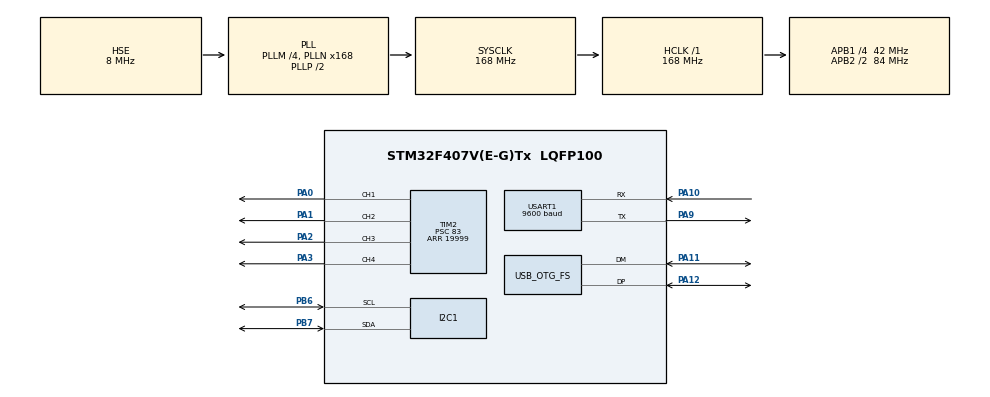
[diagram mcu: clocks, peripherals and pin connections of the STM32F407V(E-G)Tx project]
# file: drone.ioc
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I2C1.I2C_Mode=I2C_Fast
Mcu.Family=STM32F4
Mcu.Name=STM32F407V(E-G)Tx
Mcu.Package=LQFP100
NVIC.PriorityGroup=NVIC_PRIORITYGROUP_4
NVIC.TIM1_UP_TIM10_IRQn=true\:0\:0\:false\:false\:true\:true\:true\:true
NVIC.USART1_IRQn=true\:0\:0\:false\:false\:true\:true\:true\:true
PA0-WKUP.Signal=S_TIM2_CH1_ETR
PA1.Signal=S_TIM2_CH2
PA10.Mode=Asynchronous
PA10.Signal=USART1_RX
PA11.Mode=Device_Only
PA11.Signal=USB_OTG_FS_DM
PA12.Mode=Device_Only
PA12.Signal=USB_OTG_FS_DP
PA13.Mode=Trace_Asynchronous_SW
PA13.Signal=SYS_JTMS-SWDIO
PA14.Mode=Trace_Asynchronous_SW
PA14.Signal=SYS_JTCK-SWCLK
PA2.Signal=S_TIM2_CH3
PA3.Signal=S_TIM2_CH4
PA9.Mode=Asynchronous
PA9.Signal=USART1_TX
PB3.Mode=Trace_Asynchronous_SW
PB3.Signal=SYS_JTDO-SWO
PB6.Mode=I2C
PB6.Signal=I2C1_SCL
PB7.Mode=I2C
PB7.Signal=I2C1_SDA
PH0-OSC_IN.Mode=HSE-External-Oscillator
PH0-OSC_IN.Signal=RCC_OSC_IN
PH1-OSC_OUT.Mode=HSE-External-Oscillator
PH1-OSC_OUT.Signal=RCC_OSC_OUT
ProjectManager.HeapSize=0x200
ProjectManager.StackSize=0x400
ProjectManager.TargetToolchain=STM32CubeIDE
RCC.48MHZClocksFreq_Value=48000000
RCC.AHBFreq_Value=168000000
RCC.APB1CLKDivider=RCC_HCLK_DIV4
RCC.APB1Freq_Value=42000000
RCC.APB1TimFreq_Value=84000000
RCC.APB2CLKDivider=RCC_HCLK_DIV2
RCC.APB2Freq_Value=84000000
RCC.APB2TimFreq_Value=168000000
RCC.CortexFreq_Value=168000000
RCC.HCLKFreq_Value=168000000
RCC.HSE_VALUE=8000000
RCC.HSI_VALUE=16000000
RCC.LSE_VALUE=32768
RCC.PLLM=4
RCC.PLLN=168
RCC.PLLQ=7
RCC.SYSCLKFreq_VALUE=168000000
RCC.SYSCLKSource=RCC_SYSCLKSOURCE_PLLCLK
RCC.VCOOutputFreq_Value=336000000
SH.S_TIM2_CH1_ETR.0=TIM2_CH1,PWM Generation1 CH1
SH.S_TIM2_CH2.0=TIM2_CH2,PWM Generation2 CH2
SH.S_TIM2_CH3.0=TIM2_CH3,PWM Generation3 CH3
SH.S_TIM2_CH4.0=TIM2_CH4,PWM Generation4 CH4
<<<<<<< HEAD
TIM1.Period=4999
=======
TIM1.Period=1999
>>>>>>> 1afa4d579ae4796debe49eb915d73c25e3f8f8c3
TIM1.Prescaler=167
TIM2.Channel-PWM\ Generation1\ CH1=TIM_CHANNEL_1
TIM2.Channel-PWM\ Generation2\ CH2=TIM_CHANNEL_2
TIM2.Channel-PWM\ Generation3\ CH3=TIM_CHANNEL_3
TIM2.Channel-PWM\ Generation4\ CH4=TIM_CHANNEL_4
TIM2.Period=19999
TIM2.Prescaler=83
USART1.BaudRate=9600
USART1.VirtualMode=VM_ASYNC
USB_OTG_FS.VirtualMode=Device_Only
VP_TIM1_VS_ClockSourceINT.Mode=Internal
board=custom

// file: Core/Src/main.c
/* USER CODE BEGIN Header */
/**
  ******************************************************************************
  * @file           : main.c
  * @brief          : Main program body
  ******************************************************************************
  * @attention
  *
  * Copyright (c) 2026 STMicroelectronics.
  * All rights reserved.
  *
  * This software is licensed under terms that can be found in the LICENSE file
  * in the root directory of this software component.
  * If no LICENSE file comes with this software, it is provided AS-IS.
  *
  ******************************************************************************
  */
/* USER CODE END Header */
#include "main.h"

/* USER CODE BEGIN Includes */
#include "MPU.h"
#include <stdio.h>
#include "PID.h"
#include "remote_input.h"
#include <string.h>
#include <stdlib.h>
/* USER CODE END Includes */

I2C_HandleTypeDef hi2c1;

TIM_HandleTypeDef htim1;
TIM_HandleTypeDef htim2;

UART_HandleTypeDef huart1;

PCD_HandleTypeDef hpcd_USB_OTG_FS;

/* USER CODE BEGIN PV */
uint8_t rx_data;           // Biến chứa 1 ký tự nhận được từ Bluetooth
uint32_t last_bt_time = 0;
//Biến xử lý chuỗi từ web
char rx_buffer[20];
uint8_t rx_index = 0;
//Biến PID cho trục Roll
PID_Param_t PID_Roll;
PID_Param_t PID_Pitch;
PID_Param_t PID_Yaw;
// Thêm biến này để chứa dữ liệu MPU6050
MPU6050_Raw mpu_data;
extern float angle_pitch;
extern float angle_roll;
RemoteCommand_t remote_cmd;
/* USER CODE END PV */

void SystemClock_Config(void);
static void MX_GPIO_Init(void);
static void MX_I2C1_Init(void);
static void MX_TIM1_Init(void);
static void MX_TIM2_Init(void);
static void MX_USART1_UART_Init(void);
static void MX_USB_OTG_FS_PCD_Init(void);

int main(void)
{

  /* MCU Configuration--------------------------------------------------------*/

  /* Reset of all peripherals, Initializes the Flash interface and the Systick. */
  HAL_Init();

  /* Configure the system clock */
  SystemClock_Config();

  /* Initialize all configured peripherals */
  MX_GPIO_Init();
  MX_I2C1_Init();
  MX_TIM1_Init();
  MX_TIM2_Init();
  MX_USART1_UART_Init();
  MX_USB_OTG_FS_PCD_Init();
  /* USER CODE BEGIN 2 */
  // 1. Kích hoạt bộ phát PWM trên cả 4 kênh của TIM2
    HAL_TIM_PWM_Start(&htim2, TIM_CHANNEL_1);
    HAL_TIM_PWM_Start(&htim2, TIM_CHANNEL_2);
    HAL_TIM_PWM_Start(&htim2, TIM_CHANNEL_3);
    HAL_TIM_PWM_Start(&htim2, TIM_CHANNEL_4);

    RemoteInput_Init();
    HAL_UART_Receive_IT(&huart1, &rx_data, 1);
    MPU6050_Init();
    PID_Init(&PID_Roll, 0.0, 0.0, 0.0, 0.02, 0.0, -100.0, 100.0, 1);
    PID_Init(&PID_Pitch, 0.0, 0.0, 0.0, 0.02, 0.0, -100.0, 100.0, 1);
    PID_Init(&PID_Yaw, 0.0, 0.0, 0.0, 0.02, 0.0, -100.0, 100.0, 1);
    HAL_TIM_Base_Start_IT(&htim1);
    // 2. Kích hoạt cảm biến MPU6050 (SAFE FROM CUBEMX HERE!)
  /* USER CODE END 2 */

  /* Infinite loop */
  /* USER CODE BEGIN WHILE */
  while (1)
  {
	//In dữ liệu ra màn hình
	HAL_Delay(10);
    /* USER CODE END WHILE */

  }
}

void SystemClock_Config(void)
{
  RCC_OscInitTypeDef RCC_OscInitStruct = {0};
  RCC_ClkInitTypeDef RCC_ClkInitStruct = {0};

  /** Configure the main internal regulator output voltage
  */
  __HAL_RCC_PWR_CLK_ENABLE();
  __HAL_PWR_VOLTAGESCALING_CONFIG(PWR_REGULATOR_VOLTAGE_SCALE1);

  /** Initializes the RCC Oscillators according to the specified parameters
  * in the RCC_OscInitTypeDef structure.
  */
  RCC_OscInitStruct.OscillatorType = RCC_OSCILLATORTYPE_HSE;
  RCC_OscInitStruct.HSEState = RCC_HSE_ON;
  RCC_OscInitStruct.PLL.PLLState = RCC_PLL_ON;
  RCC_OscInitStruct.PLL.PLLSource = RCC_PLLSOURCE_HSE;
  RCC_OscInitStruct.PLL.PLLM = 4;
  RCC_OscInitStruct.PLL.PLLN = 168;
  RCC_OscInitStruct.PLL.PLLP = RCC_PLLP_DIV2;
  RCC_OscInitStruct.PLL.PLLQ = 7;
  if (HAL_RCC_OscConfig(&RCC_OscInitStruct) != HAL_OK)
  {
    Error_Handler();
  }

  /** Initializes the CPU, AHB and APB buses clocks
  */
  RCC_ClkInitStruct.ClockType = RCC_CLOCKTYPE_HCLK|RCC_CLOCKTYPE_SYSCLK
                              |RCC_CLOCKTYPE_PCLK1|RCC_CLOCKTYPE_PCLK2;
  RCC_ClkInitStruct.SYSCLKSource = RCC_SYSCLKSOURCE_PLLCLK;
  RCC_ClkInitStruct.AHBCLKDivider = RCC_SYSCLK_DIV1;
  RCC_ClkInitStruct.APB1CLKDivider = RCC_HCLK_DIV4;
  RCC_ClkInitStruct.APB2CLKDivider = RCC_HCLK_DIV2;

  if (HAL_RCC_ClockConfig(&RCC_ClkInitStruct, FLASH_LATENCY_5) != HAL_OK)
  {
    Error_Handler();
  }
}

static void MX_I2C1_Init(void)
{

  hi2c1.Instance = I2C1;
  hi2c1.Init.ClockSpeed = 400000;
  hi2c1.Init.DutyCycle = I2C_DUTYCYCLE_2;
  hi2c1.Init.OwnAddress1 = 0;
  hi2c1.Init.AddressingMode = I2C_ADDRESSINGMODE_7BIT;
  hi2c1.Init.DualAddressMode = I2C_DUALADDRESS_DISABLE;
  hi2c1.Init.OwnAddress2 = 0;
  hi2c1.Init.GeneralCallMode = I2C_GENERALCALL_DISABLE;
  hi2c1.Init.NoStretchMode = I2C_NOSTRETCH_DISABLE;
  if (HAL_I2C_Init(&hi2c1) != HAL_OK)
  {
    Error_Handler();
  }

}

static void MX_TIM1_Init(void)
{

  TIM_ClockConfigTypeDef sClockSourceConfig = {0};
  TIM_MasterConfigTypeDef sMasterConfig = {0};

  htim1.Instance = TIM1;
  htim1.Init.Prescaler = 167;
  htim1.Init.CounterMode = TIM_COUNTERMODE_UP;
  htim1.Init.Period = 4999;
  htim1.Init.ClockDivision = TIM_CLOCKDIVISION_DIV1;
  htim1.Init.RepetitionCounter = 0;
  htim1.Init.AutoReloadPreload = TIM_AUTORELOAD_PRELOAD_DISABLE;
  if (HAL_TIM_Base_Init(&htim1) != HAL_OK)
  {
    Error_Handler();
  }
  sClockSourceConfig.ClockSource = TIM_CLOCKSOURCE_INTERNAL;
  if (HAL_TIM_ConfigClockSource(&htim1, &sClockSourceConfig) != HAL_OK)
  {
    Error_Handler();
  }
  sMasterConfig.MasterOutputTrigger = TIM_TRGO_RESET;
  sMasterConfig.MasterSlaveMode = TIM_MASTERSLAVEMODE_DISABLE;
  if (HAL_TIMEx_MasterConfigSynchronization(&htim1, &sMasterConfig) != HAL_OK)
  {
    Error_Handler();
  }

}

static void MX_TIM2_Init(void)
{

  TIM_MasterConfigTypeDef sMasterConfig = {0};
  TIM_OC_InitTypeDef sConfigOC = {0};

  htim2.Instance = TIM2;
  htim2.Init.Prescaler = 83;
  htim2.Init.CounterMode = TIM_COUNTERMODE_UP;
  htim2.Init.Period = 19999;
  htim2.Init.ClockDivision = TIM_CLOCKDIVISION_DIV1;
  htim2.Init.AutoReloadPreload = TIM_AUTORELOAD_PRELOAD_DISABLE;
  if (HAL_TIM_PWM_Init(&htim2) != HAL_OK)
  {
    Error_Handler();
  }
  sMasterConfig.MasterOutputTrigger = TIM_TRGO_RESET;
  sMasterConfig.MasterSlaveMode = TIM_MASTERSLAVEMODE_DISABLE;
  if (HAL_TIMEx_MasterConfigSynchronization(&htim2, &sMasterConfig) != HAL_OK)
  {
    Error_Handler();
  }
  sConfigOC.OCMode = TIM_OCMODE_PWM1;
  sConfigOC.Pulse = 0;
  sConfigOC.OCPolarity = TIM_OCPOLARITY_HIGH;
  sConfigOC.OCFastMode = TIM_OCFAST_DISABLE;
  if (HAL_TIM_PWM_ConfigChannel(&htim2, &sConfigOC, TIM_CHANNEL_1) != HAL_OK)
  {
    Error_Handler();
  }
  if (HAL_TIM_PWM_ConfigChannel(&htim2, &sConfigOC, TIM_CHANNEL_2) != HAL_OK)
  {
    Error_Handler();
  }
  if (HAL_TIM_PWM_ConfigChannel(&htim2, &sConfigOC, TIM_CHANNEL_3) != HAL_OK)
  {
    Error_Handler();
  }
  if (HAL_TIM_PWM_ConfigChannel(&htim2, &sConfigOC, TIM_CHANNEL_4) != HAL_OK)
  {
    Error_Handler();
  }
  HAL_TIM_MspPostInit(&htim2);

}

static void MX_USART1_UART_Init(void)
{

  huart1.Instance = USART1;
  huart1.Init.BaudRate = 9600;
  huart1.Init.WordLength = UART_WORDLENGTH_8B;
  huart1.Init.StopBits = UART_STOPBITS_1;
  huart1.Init.Parity = UART_PARITY_NONE;
  huart1.Init.Mode = UART_MODE_TX_RX;
  huart1.Init.HwFlowCtl = UART_HWCONTROL_NONE;
  huart1.Init.OverSampling = UART_OVERSAMPLING_16;
  if (HAL_UART_Init(&huart1) != HAL_OK)
  {
    Error_Handler();
  }

}

static void MX_USB_OTG_FS_PCD_Init(void)
{

  hpcd_USB_OTG_FS.Instance = USB_OTG_FS;
  hpcd_USB_OTG_FS.Init.dev_endpoints = 4;
  hpcd_USB_OTG_FS.Init.speed = PCD_SPEED_FULL;
  hpcd_USB_OTG_FS.Init.dma_enable = DISABLE;
  hpcd_USB_OTG_FS.Init.phy_itface = PCD_PHY_EMBEDDED;
  hpcd_USB_OTG_FS.Init.Sof_enable = DISABLE;
  hpcd_USB_OTG_FS.Init.low_power_enable = DISABLE;
  hpcd_USB_OTG_FS.Init.lpm_enable = DISABLE;
  hpcd_USB_OTG_FS.Init.vbus_sensing_enable = DISABLE;
  hpcd_USB_OTG_FS.Init.use_dedicated_ep1 = DISABLE;
  if (HAL_PCD_Init(&hpcd_USB_OTG_FS) != HAL_OK)
  {
    Error_Handler();
  }

}

static void MX_GPIO_Init(void)
{

  /* GPIO Ports Clock Enable */
  __HAL_RCC_GPIOH_CLK_ENABLE();
  __HAL_RCC_GPIOA_CLK_ENABLE();
  __HAL_RCC_GPIOB_CLK_ENABLE();

}

/* USER CODE BEGIN 4 */
int _write(int file, char *ptr, int len) {
    for (int i = 0; i < len; i++) {
        ITM_SendChar((*ptr++));
    }
    return len;
}
// --- 1. NGẮT NHẬN DỮ LIỆU TỪ WEB BLUETOOTH ---
void HAL_UART_RxCpltCallback(UART_HandleTypeDef *huart)
{
  if(huart->Instance == USART1) // Đổi USART1 nếu bạn dùng cổng khác
  {
    RemoteInput_ParseByte(rx_data);
    // Ký tự \n (Enter) là dấu hiệu kết thúc 1 lệnh từ App điện thoại
    if (rx_data == '\n' || rx_data == '\r' || rx_data == ';')
    {
        rx_buffer[rx_index] = '\0'; // Chốt mảng ký tự thành chuỗi hoàn chỉnh

        if (rx_index > 0) // Đảm bảo có dữ liệu
        {
            // 2. XỬ LÝ LỆNH NẠP PID (Ký tự đầu là 1, 2, hoặc 3)
            if (rx_buffer[0] == '1' || rx_buffer[0] == '2' || rx_buffer[0] == '3')
            {
                float val = atof(&rx_buffer[2]); // Cắt lấy con số từ vị trí thứ 3 trở đi

                PID_Param_t *current_pid = NULL; // Con trỏ trỏ tới bộ PID cần sửa

                // Chọn bộ PID tương ứng
                if (rx_buffer[0] == '1') current_pid = &PID_Roll;
                else if (rx_buffer[0] == '2') current_pid = &PID_Pitch;
                else if (rx_buffer[0] == '3') current_pid = &PID_Yaw;

                // Nạp giá trị vào P, I, hoặc D
                if (current_pid != NULL) {
                    if (rx_buffer[1] == 'P') current_pid->Kp = val;
                    else if (rx_buffer[1] == 'I') current_pid->Ki = val;
                    else if (rx_buffer[1] == 'D') current_pid->Kd = val;
                }
            }
        }
        rx_index = 0; // Xóa bộ đệm, sẵn sàng đón lệnh tiếp theo
    }
    else
    {
        // Nếu chưa gặp Enter, tiếp tục nhét ký tự vào bộ đệm (chống tràn 19 ký tự)
        if (rx_index < 19) rx_buffer[rx_index++] = rx_data;
    }

    // Bắt buộc: Gọi lại hàm này để STM32 mở cửa đón byte tiếp theo
    HAL_UART_Receive_IT(&huart1, &rx_data, 1);
  }
}

// --- 2. NGẮT TIMER 1 (CHẠY CHÍNH XÁC MỖI 5ms) ---
void HAL_TIM_PeriodElapsedCallback(TIM_HandleTypeDef *htim)
{
    if(htim->Instance == TIM1)
    {
        remote_cmd = RemoteInput_Get();
    	MPU6050_Read_Data(&mpu_data);
        MPU6050_Process_Angle(&mpu_data);

        uint32_t cmd_age = HAL_GetTick() - remote_cmd.last_update_ms;

        if (cmd_age > 200)
        {
            remote_cmd.roll_cmd = 0;
            remote_cmd.pitch_cmd = 0;
            remote_cmd.yaw_cmd = 0;
        }

        if (cmd_age > 1200)
        {
            remote_cmd.armed = 0;
            remote_cmd.throttle = 1000;
            remote_cmd.roll_cmd = 0;
            remote_cmd.pitch_cmd = 0;
            remote_cmd.yaw_cmd = 0;
        }

        // 2. Logic cân bằng
        if(remote_cmd.armed == 1)
        {
            PID_Roll.Setpoint = (float)remote_cmd.roll_cmd;
            PID_Pitch.Setpoint = (float)remote_cmd.pitch_cmd;

            // Tính toán lượng ga cần bù dựa trên góc nghiêng hiện tại
            float roll_output = PID_Calculate(&PID_Roll, angle_roll);
            float pitch_output = PID_Calculate(&PID_Pitch, angle_pitch);
            float yaw_output = (float)remote_cmd.yaw_cmd;

            // Mức ga nền
            int throttle = remote_cmd.throttle;

            // BỘ TRỘN MIXER: ROLL + PITCH + YAW
            // Quy ước: Motor Trái là FL, BL. Motor Phải là FR, BR.
            int motor_FL = throttle - (int)roll_output - (int)pitch_output + (int)yaw_output;
            int motor_BL = throttle - (int)roll_output + (int)pitch_output - (int)yaw_output;
            int motor_FR = throttle + (int)roll_output - (int)pitch_output - (int)yaw_output;
            int motor_BR = throttle + (int)roll_output + (int)pitch_output + (int)yaw_output;

            // Chặn giới hạn xung tuyệt đối bảo vệ ESC
            if(motor_FL > 1800) motor_FL = 1800;
            if(motor_FL < 1100) motor_FL = 1100;
            if(motor_FR > 1800) motor_FR = 1800;
            if(motor_FR < 1100) motor_FR = 1100;
            if(motor_BL > 1800) motor_BL = 1800;
            if(motor_BL < 1100) motor_BL = 1100;
            if(motor_BR > 1800) motor_BR = 1800;
            if(motor_BR < 1100) motor_BR = 1100;

            // Xuất tín hiệu ra 4 ESC
            __HAL_TIM_SET_COMPARE(&htim2, TIM_CHANNEL_1, motor_FL);
            __HAL_TIM_SET_COMPARE(&htim2, TIM_CHANNEL_2, motor_FR);
            __HAL_TIM_SET_COMPARE(&htim2, TIM_CHANNEL_3, motor_BR);
            __HAL_TIM_SET_COMPARE(&htim2, TIM_CHANNEL_4, motor_BL);
        }
        else
        {
            // Disarm: Tắt hoàn toàn động cơ
            __HAL_TIM_SET_COMPARE(&htim2, TIM_CHANNEL_1, 1000);
            __HAL_TIM_SET_COMPARE(&htim2, TIM_CHANNEL_2, 1000);
            __HAL_TIM_SET_COMPARE(&htim2, TIM_CHANNEL_3, 1000);
            __HAL_TIM_SET_COMPARE(&htim2, TIM_CHANNEL_4, 1000);
        }
    }
}
/* USER CODE END 4 */

void Error_Handler(void)
{
  __disable_irq();
  while (1)
  {
  }
}
